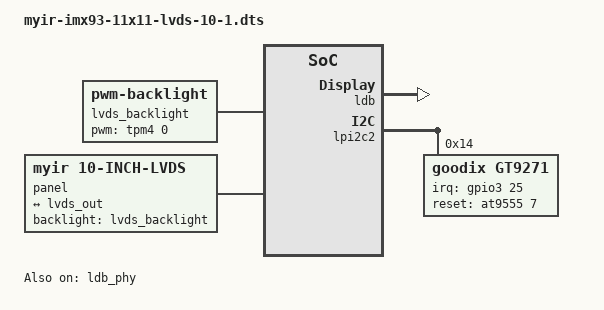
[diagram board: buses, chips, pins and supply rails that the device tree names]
// SPDX-License-Identifier: (GPL-2.0+ OR MIT)
/*
 * Copyright 2022 NXP
 */

#include "myir-imx93-11x11.dts"

/ {
	lvds_backlight: lvds_backlight {
		compatible = "pwm-backlight";
		pwms = <&tpm4 0 100000 0>;
		// enable-gpios = <&adp5585gpio 8 GPIO_ACTIVE_HIGH>;
		// power-supply = <&reg_vdd_12v>;
		status = "okay";

		brightness-levels = < 0  1  2  3  4  5  6  7  8  9
				     10 11 12 13 14 15 16 17 18 19
				     20 21 22 23 24 25 26 27 28 29
				     30 31 32 33 34 35 36 37 38 39
				     40 41 42 43 44 45 46 47 48 49
				     50 51 52 53 54 55 56 57 58 59
				     60 61 62 63 64 65 66 67 68 69
				     70 71 72 73 74 75 76 77 78 79
				     80 81 82 83 84 85 86 87 88 89
				     90 91 92 93 94 95 96 97 98 99
				    100>;
		default-brightness-level = <80>;
	};

	panel: panel-lvds0 {
    compatible = "myir,10-inch-lvds";
    backlight = <&lvds_backlight>;
    
		width-mm = <230>;
		height-mm = <150>;
   		data-mapping = "vesa-24";
		panel-timing {
				clock-frequency = <71000000>;
				hactive = <1280>;
				hfront-porch = <60>;
				hsync-len = <17>;
				hback-porch = <60>;
				 
				vactive = <800>;
				vfront-porch = <10>; 
				vsync-len = <3>;
				vback-porch = <10>;
				
				
	  };

    port {
        panel_lvds_in: endpoint {
            remote-endpoint = <&lvds_out>;
        };
    };
	};
	
};


// &lt9611_hdmi{
// 	status = "disabled";
// };

&dphy {
	status = "disabled";
};

&dsi {
	status = "disabled";
};

&lcdif {
	max-memory-bandwidth = <245760000>; /* 1280x800-32@60 */
	assigned-clock-rates = <498000000>, <71142857>, <400000000>, <133333333>;
};

&ldb {
	status = "okay";
	lvds-channel@0 {
		fsl,data-mapping = "spwg";
		fsl,data-width = <24>;
		status = "okay";

		port@1 {
			reg = <1>;

			lvds_out: endpoint {
				remote-endpoint = <&panel_lvds_in>;
			};
		};
	};
};

&ldb_phy {
	status = "okay";
};

&lpi2c2 {
	gt9271@14 {
		compatible = "goodix,gt9271";
		reg = <0x14>;
		pinctrl-names = "default";
		pinctrl-0 = <&lvds1_tpcs_pins>;
		
		interrupt-parent = <&gpio3>;
		interrupts = <25  IRQ_TYPE_EDGE_FALLING>;
		
		synaptics,x-rotation;
		synaptics,y-rotation;
	  irq-gpios = <&gpio3 25 GPIO_ACTIVE_HIGH>;	
		reset-gpios = <&at9555 7 GPIO_ACTIVE_HIGH>;
		status = "okay";

	};
};

&iomuxc {
	lvds1_tpcs_pins: lvds1tpcspins {
		fsl,pins = <
			MX93_PAD_SD3_DATA3__GPIO3_IO25             0x0000057E
		>;
	};
};
